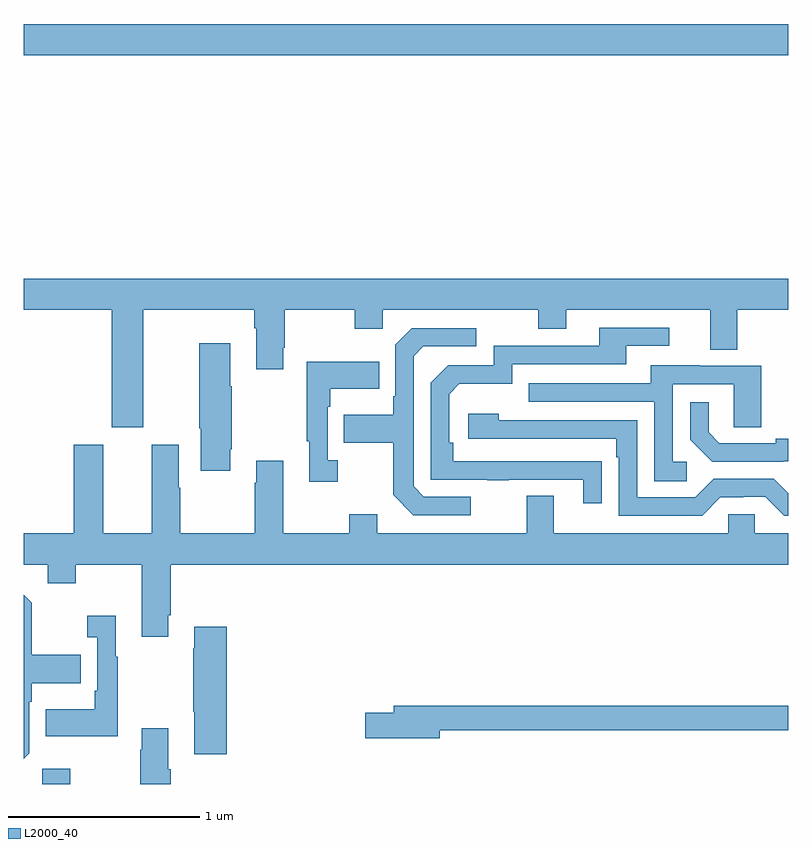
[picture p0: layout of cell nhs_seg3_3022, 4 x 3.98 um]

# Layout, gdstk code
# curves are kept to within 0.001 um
import gdstk
lib = gdstk.Library(unit=1e-6, precision=1e-09)
def R(c, l, rs):  # rectangles x0, y0, x1, y1
    for r in rs: c.add(gdstk.rectangle(r[:2], r[2:], *l))
def P(c, l, *ps):  # polygons
    for p in ps: c.add(gdstk.Polygon(p, *l))
L2000_40 = (2000, 40)

nhs_seg3_3022 = lib.new_cell('nhs_seg3_3022')
R(nhs_seg3_3022, L2000_40, [(267.096,734.4,267.243,734.479), (267,738.212,271,738.376)])
P(nhs_seg3_3022, L2000_40, [(267.625,736.88),(268.205,736.88),(268.205,736.784),(268.217,736.784),(268.217,736.569),(268.357,736.569),(268.357,736.681),(268.365,736.681),(268.365,736.88),(268.732,736.88),(268.732,736.781),(268.878,736.781),(268.878,736.88),(269.692,736.88),(269.692,736.781),(269.839,736.781),(269.839,736.88),(270.593,736.88),(270.593,736.672),(270.733,736.672),(270.733,736.88),(271,736.88),(271,737.044),(267,737.044),(267,736.88),(267.461,736.88),(267.461,736.266),(267.625,736.266)],
  [(270.023,736.088),(269.246,736.089),(269.246,736.186),(269.226,736.186),(269.226,736.44),(269.279,736.493),(269.556,736.493),(269.556,736.596),(270.151,736.596),(270.151,736.692),(270.376,736.692),(270.376,736.788),(270.011,736.788),(270.011,736.692),(269.46,736.692),(269.46,736.59),(269.22,736.59),(269.13,736.5),(269.13,735.993),(269.425,735.993),(269.425,735.988),(269.537,735.988),(269.537,735.993),(269.927,735.993),(269.927,735.87),(270.023,735.87)],
  [(269.338,735.903),(269.094,735.903),(269.04,735.957),(269.04,736.638),(269.091,736.689),(269.368,736.689),(269.368,736.785),(269.031,736.785),(268.944,736.698),(268.944,736.429),(268.932,736.429),(268.932,736.333),(268.675,736.333),(268.675,736.186),(268.932,736.186),(268.932,735.913),(269.037,735.807),(269.338,735.807)],
  [(268.081,736.15),(268.089,736.15),(268.089,736.481),(268.081,736.481),(268.081,736.705),(267.919,736.705),(267.919,736.261),(267.926,736.261),(267.926,736.038),(268.081,736.038)],
  [(268.642,736.094),(268.59,736.094),(268.59,736.373),(268.603,736.373),(268.603,736.469),(268.859,736.469),(268.859,736.609),(268.482,736.609),(268.482,736.193),(268.493,736.193),(268.493,735.981),(268.642,735.981)],
  [(270.469,736.086),(270.396,736.086),(270.396,736.491),(270.714,736.491),(270.714,736.267),(270.859,736.267),(270.859,736.587),(270.535,736.587),(270.535,736.591),(270.281,736.591),(270.281,736.497),(269.641,736.497),(269.641,736.401),(270.3,736.401),(270.3,735.985),(270.469,735.985)],
  [(270.974,736.089),(271,736.089),(271,736.205),(270.935,736.205),(270.935,736.182),(270.64,736.182),(270.583,736.239),(270.583,736.396),(270.486,736.396),(270.486,736.202),(270.602,736.086),(270.974,736.086)],
  [(271,735.92),(270.924,735.996),(270.609,735.996),(270.513,735.9),(270.21,735.9),(270.21,736.302),(269.486,736.302),(269.486,736.336),(269.325,736.336),(269.325,736.206),(270.101,736.206),(270.101,736.109),(270.114,736.109),(270.114,735.804),(270.549,735.804),(270.645,735.9),(270.764,735.9),(270.764,735.903),(270.879,735.903),(270.979,735.803),(271,735.803)],
  [(267.757,735.283),(267.77,735.283),(267.77,735.548),(271,735.548),(271,735.712),(270.825,735.712),(270.825,735.81),(270.687,735.81),(270.687,735.712),(269.773,735.712),(269.773,735.907),(269.633,735.907),(269.633,735.712),(268.849,735.712),(268.849,735.811),(268.702,735.811),(268.702,735.712),(268.357,735.712),(268.357,736.09),(268.217,736.09),(268.217,735.977),(268.21,735.977),(268.21,735.712),(267.819,735.712),(267.819,735.95),(267.811,735.95),(267.811,736.174),(267.671,736.174),(267.671,735.712),(267.415,735.712),(267.415,736.174),(267.263,736.174),(267.263,735.712),(267,735.712),(267,735.548),(267.125,735.548),(267.125,735.449),(267.273,735.449),(267.273,735.548),(267.617,735.548),(267.617,735.171),(267.757,735.171)],
  [(267.03,734.562),(267.03,734.831),(267.043,734.831),(267.043,734.927),(267.299,734.927),(267.299,735.075),(267.043,735.075),(267.043,735.347),(267,735.39),(267,734.532)],
  [(267.493,735.067),(267.481,735.067),(267.481,735.28),(267.333,735.28),(267.333,735.167),(267.384,735.167),(267.384,734.887),(267.372,734.887),(267.372,734.791),(267.115,734.791),(267.115,734.651),(267.493,734.651)],
  [(268.061,735.223),(267.893,735.223),(267.893,735.11),(267.886,735.11),(267.886,734.779),(267.893,734.779),(267.893,734.556),(268.061,734.556)],
  [(269.176,734.682),(271,734.682),(271,734.81),(268.937,734.81),(268.937,734.774),(268.788,734.774),(268.788,734.639),(269.176,734.639)],
  [(267.77,734.476),(267.757,734.476),(267.757,734.692),(267.617,734.692),(267.617,734.579),(267.61,734.579),(267.61,734.4),(267.77,734.4)])

lib.write_gds('nhs_seg3_3022.gds')
